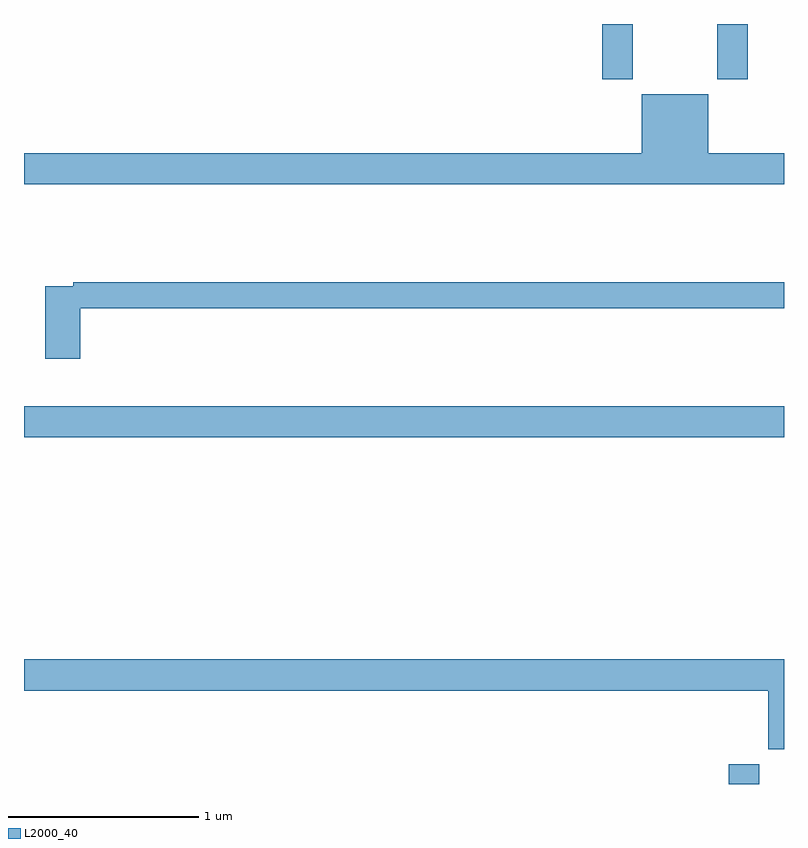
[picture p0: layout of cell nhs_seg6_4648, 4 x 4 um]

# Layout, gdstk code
import gdstk
lib = gdstk.Library(unit=1e-6, precision=1e-09)
def R(c, l, rs):  # rectangles x0, y0, x1, y1
    for r in rs: c.add(gdstk.rectangle(r[:2], r[2:], *l))
def P(c, l, *ps):  # polygons
    for p in ps: c.add(gdstk.Polygon(p, *l))
L2000_40 = (2000, 40)

nhs_seg6_4648 = lib.new_cell('nhs_seg6_4648')
R(nhs_seg6_4648, L2000_40, [(388.709,957.5,388.869,957.604), (385,959.324,389,959.488), (388.043,961.209,388.203,961.5), (388.648,961.209,388.808,961.5)])
P(nhs_seg6_4648, L2000_40, [(389,960.82),(388.6,960.82),(388.6,961.129),(388.25,961.129),(388.25,960.82),(385,960.82),(385,960.656),(389,960.656)],
  [(385.295,960.004),(389,960.004),(389,960.14),(385.258,960.14),(385.258,960.12),(385.112,960.12),(385.112,959.739),(385.295,959.739)],
  [(389,958.156),(385,958.156),(385,957.992),(388.916,957.992),(388.916,957.683),(389,957.683)])

lib.write_gds('nhs_seg6_4648.gds')
